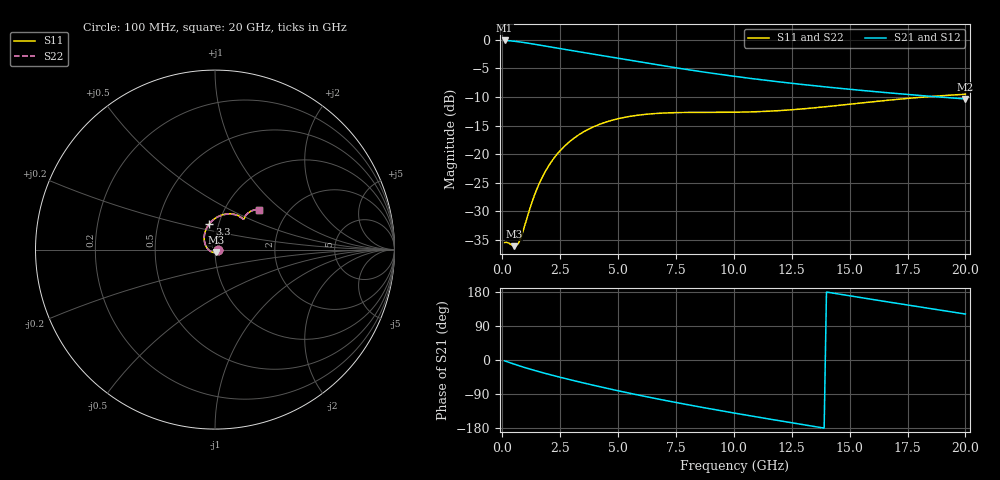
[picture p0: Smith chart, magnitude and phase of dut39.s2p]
! Touchstone file exported from HFSS 2023.1.0
!  File:  D:/Users/fzz/RDL_TSV/temp_RDL_TSV_39_1778744644.aedt
!  Generated:  3:51:34 %x4E0B%x5348  5%x6708 14, 2026
!  Design:  RDL_TSV
!  Project:  temp_RDL_TSV_39_1778744644
!  Setup:  Setup1
!  Solution:  Sweep
! Variables:
!  dtsv = 19.16um
!  hbump = 3um
!  htsv = 58.17um
!  ldown = 610.49um
!  lrdl = 392.94um
!  p = 40
!  p1 = 50.07um
!  rhole = 10um
!  subl = 3403.23um
!  t = 450um
!  tdown = 4.67um
!  trdl = 2.73um
!  viad = 10um
!  wdown = 26.9um
!  wrdl = 17.62um
!  xbump = 18um
# GHz S MA R 50.000000
! Terminal data exported
! Port[1] = TM1_1_T1
! Port[2] = TM1_4_T1
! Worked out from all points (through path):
!   200 points, 100 MHz to 20 GHz, reference 50 ohm
!   highest |S21| = -0.16 dB at 100 MHz (marker M1); lowest = -10.4 dB at 20 GHz (marker M2)
!   group delay of S21, straight-line fit = 31.5 ps
!   lowest |S11| = -36.1 dB at 500 MHz (marker M3), VSWR 1.03, Z = 50.6 - j1.47 ohm
!   |S11| at or under -10 dB: start of sweep to 18.3 GHz
!   |S22| runs from -36.0 to -9.6 dB; largest |S21 - S12| = 3.3e-14
!   S11 on the Smith chart (normalised r, x): 100 MHz: 1.03, -0.01; 3.3 GHz: 0.90, +0.27; 20 GHz: 1.44, +0.72
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0.1  0.01694 -9.7  0.9822 -2.2  0.9822 -2.2  0.01694 -9.7
! Gamma 0 0 0 0
! Port Impedance 50 0 50 0
0.5  0.01575 -67.8  0.9681 -10.7  0.9681 -10.7  0.01577 -67.7
0.6  0.01584 -86.6  0.9629 -12.7  0.9629 -12.7  0.01587 -86.4
0.7  0.01673 -105.9  0.9573 -14.7  0.9573 -14.7  0.01675 -105.7
0.8  0.0186 -124.2  0.9512 -16.6  0.9512 -16.6  0.0186 -123.9
1.4  0.04442 169.8  0.9097 -27.7  0.9097 -27.7  0.04421 170.0
1.6  0.05564 157.8  0.8952 -31.1  0.8952 -31.1  0.05537 157.9
1.9  0.07309 143.4  0.8739 -36.1  0.8739 -36.1  0.0727 143.5
2.5  0.1073 122.4  0.8334 -45.6  0.8334 -45.6  0.1067 122.4
3.3  0.1474 102.4  0.7833 -57.6  0.7833 -57.6  0.1465 102.4
3.5  0.1561 98.3  0.7712 -60.5  0.7712 -60.5  0.1551 98.3
4.2  0.1821 86.0  0.7304 -70.4  0.7304 -70.4  0.1809 86.0
5  0.2038 74.9  0.6861 -81.2  0.6861 -81.2  0.2024 74.9
5.9  0.2193 65.2  0.6395 -92.8  0.6395 -92.8  0.2177 65.2
6.8  0.2276 58.0  0.5969 -103.9  0.5969 -103.9  0.2258 58.0
8.4  0.2316 50.1  0.5315 -122.4  0.5315 -122.4  0.2297 50.1
10.1  0.2324 47.0  0.4756 -140.9  0.4756 -140.9  0.2305 47.0
11.7  0.2382 47.0  0.4334 -157.5  0.4334 -157.5  0.2364 47.1
13.4  0.2528 47.8  0.3969 -174.7  0.3969 -174.7  0.2511 47.9
16.7  0.2961 46.7  0.3426 152.8  0.3426 152.8  0.2941 46.8
18.3  0.3162 44.7  0.322 137.5  0.322 137.5  0.314 44.7
20  0.3332 42.0  0.3033 121.3  0.3033 121.3  0.3306 42.1
